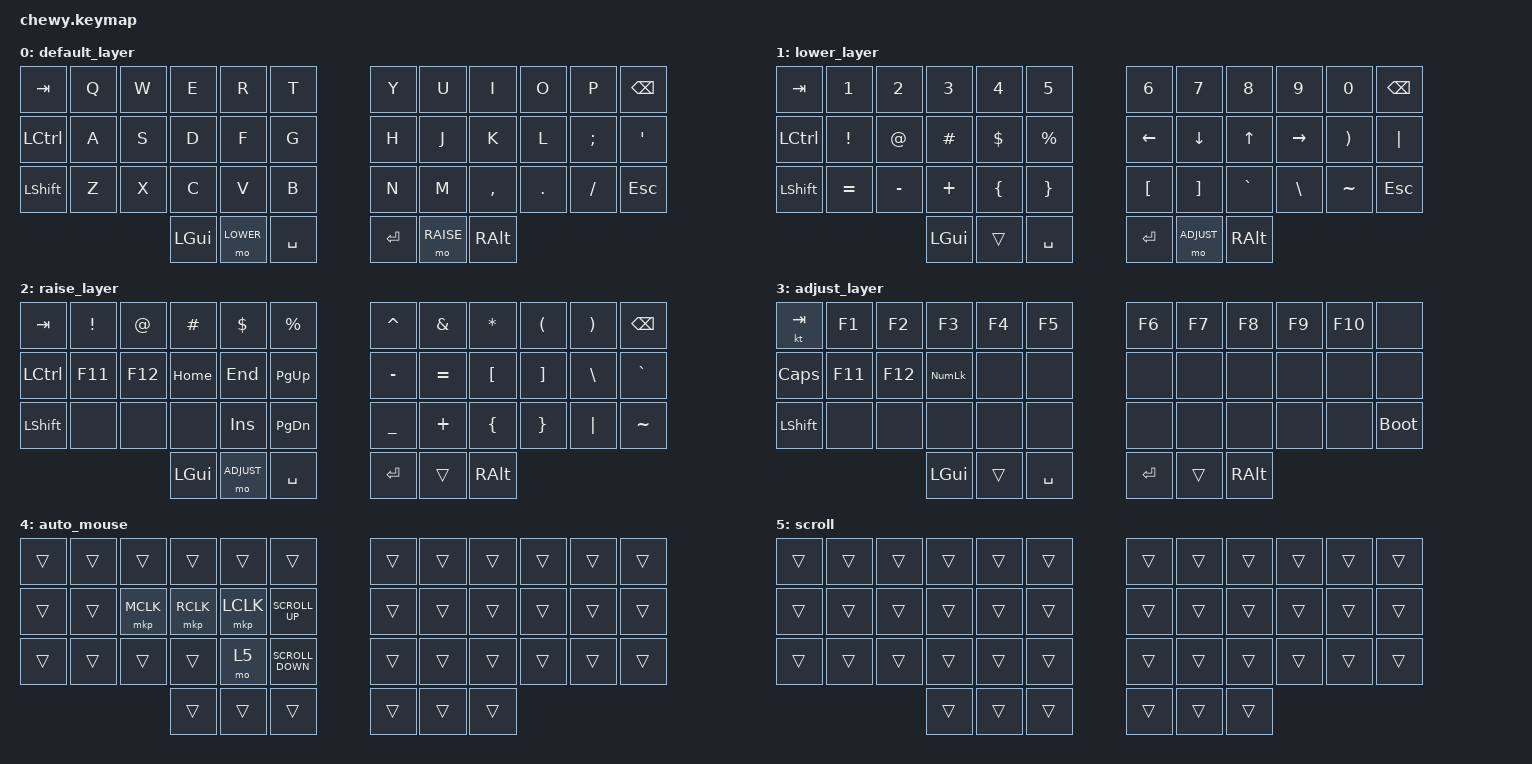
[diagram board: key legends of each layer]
#define ZMK_POINTING_DEFAULT_MOVE_VAL 1500  // default: 600
#define ZMK_POINTING_DEFAULT_SCRL_VAL 10    // default: 10

#include <behaviors.dtsi>
#include <dt-bindings/zmk/keys.h>
#include <dt-bindings/zmk/pointing.h>

#define DEFAULT 0
#define LOWER   1
#define RAISE   2
#define ADJUST  3

&soft_off { hold-time-ms = <3000>; };

&mt {
    flavor = "balanced";
    require-prior-idle-ms = <200>;
    tapping-term-ms = <200>;
    quick-tap-ms = <175>;
};

/ {
    behaviors {
        as: auto_shift {
            compatible = "zmk,behavior-hold-tap";
            label = "Auto Shift";
            bindings = <&kp>, <&kp>;

            #binding-cells = <2>;
            quick-tap-ms = <0>;
            tapping-term-ms = <200>;
            flavor = "hold-preferred";
            require-prior-idle-ms = <125>;
        };

        ca: ctrl_alt {
            compatible = "zmk,behavior-tap-dance";
            #binding-cells = <0>;
            tapping-term-ms = <300>;
            bindings = <&kp LCTRL>, <&kp LALT>;
        };

        cb: ctrl_backspase {
            compatible = "zmk,behavior-mod-morph";
            label = "CTRL_BACKSPASE";
            bindings = <&kp BACKSPACE>, <&mo 7>;

            #binding-cells = <0>;
            mods = <(MOD_LCTL|MOD_LALT)>;
        };
    };

    combos { compatible = "zmk,combos"; };

    keymap {
        compatible = "zmk,keymap";

        default_layer {
            bindings = <
&kp TAB    &kp Q  &kp W  &kp E     &kp R      &kp T        &kp Y    &kp U      &kp I      &kp O    &kp P     &kp BSPC
&kp LCTRL  &kp A  &kp S  &kp D     &kp F      &kp G        &kp H    &kp J      &kp K      &kp L    &kp SEMI  &kp SQT
&kp LSHFT  &kp Z  &kp X  &kp C     &kp V      &kp B        &kp N    &kp M      &kp COMMA  &kp DOT  &kp FSLH  &kp ESC
                         &kp LGUI  &mo LOWER  &kp SPACE    &kp RET  &mo RAISE  &kp RALT
            >;
        };

        lower_layer {
            bindings = <
&kp TAB    &kp N1     &kp N2     &kp N3    &kp N4    &kp N5       &kp N6          &kp N7      &kp N8        &kp N9     &kp N0     &kp BSPC
&kp LCTRL  &kp EXCL   &kp AT     &kp HASH  &kp DLLR  &kp PRCNT    &kp LEFT_ARROW  &kp DOWN    &kp UP_ARROW  &kp RIGHT  &kp RPAR   &kp PIPE
&kp LSHFT  &kp EQUAL  &kp MINUS  &kp PLUS  &kp LBRC  &kp RBRC     &kp LBKT        &kp RBKT    &kp GRAVE     &kp BSLH   &kp TILDE  &kp ESC
                                 &kp LGUI  &trans    &kp SPACE    &kp RET         &mo ADJUST  &kp RALT
            >;
        };

        raise_layer {
            bindings = <
&kp TAB    &kp EXCL  &kp AT   &kp HASH  &kp DOLLAR  &kp PERCENT    &kp CARET  &kp AMPS   &kp STAR  &kp LPAR           &kp RPAR       &kp BSPC
&kp LCTRL  &kp F11   &kp F12  &kp HOME  &kp END     &kp PG_UP      &kp MINUS  &kp EQUAL  &kp LBKT  &kp RIGHT_BRACKET  &kp BACKSLASH  &kp GRAVE
&kp LSHFT  &none     &none    &none     &kp INSERT  &kp PG_DN      &kp UNDER  &kp PLUS   &kp LBRC  &kp RIGHT_BRACE    &kp PIPE       &kp TILDE
                              &kp LGUI  &mo ADJUST  &kp SPACE      &kp RET    &trans     &kp RALT
            >;
        };

        adjust_layer {
            bindings = <
&kt TAB    &kp F1   &kp F2   &kp F3          &kp F4  &kp F5       &kp F6   &kp F7  &kp F8    &kp F9  &kp F10  &none
&kp CLCK   &kp F11  &kp F12  &kp KP_NUMLOCK  &none   &none        &none    &none   &none     &none   &none    &none
&kp LSHFT  &none    &none    &none           &none   &none        &none    &none   &none     &none   &none    &bootloader
                             &kp LGUI        &trans  &kp SPACE    &kp RET  &trans  &kp RALT
            >;
        };

        auto_mouse {
            bindings = <
&trans  &trans  &trans     &trans     &trans     &trans               &trans  &trans  &trans  &trans  &trans  &trans
&trans  &trans  &mkp MCLK  &mkp RCLK  &mkp LCLK  &kp K_SCROLL_UP      &trans  &trans  &trans  &trans  &trans  &trans
&trans  &trans  &trans     &trans     &mo 5      &kp K_SCROLL_DOWN    &trans  &trans  &trans  &trans  &trans  &trans
                           &trans     &trans     &trans               &trans  &trans  &trans
            >;
        };

        scroll {
            bindings = <
&trans  &trans  &trans  &trans  &trans  &trans    &trans  &trans  &trans  &trans  &trans  &trans
&trans  &trans  &trans  &trans  &trans  &trans    &trans  &trans  &trans  &trans  &trans  &trans
&trans  &trans  &trans  &trans  &trans  &trans    &trans  &trans  &trans  &trans  &trans  &trans
                        &trans  &trans  &trans    &trans  &trans  &trans
            >;
        };
    };
};
